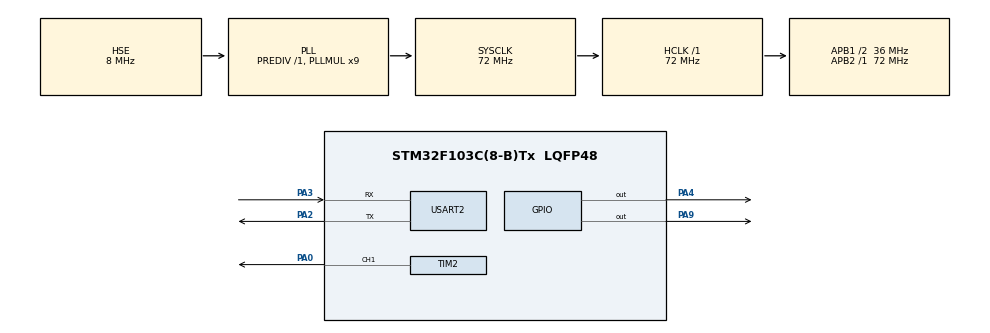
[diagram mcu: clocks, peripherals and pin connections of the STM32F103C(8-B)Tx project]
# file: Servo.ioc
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Dma.Request0=USART2_RX
Dma.Request1=USART2_TX
Dma.USART2_RX.0.Direction=DMA_PERIPH_TO_MEMORY
Dma.USART2_RX.0.Instance=DMA1_Channel6
Dma.USART2_RX.0.MemDataAlignment=DMA_MDATAALIGN_BYTE
Dma.USART2_RX.0.MemInc=DMA_MINC_ENABLE
Dma.USART2_RX.0.Mode=DMA_NORMAL
Dma.USART2_RX.0.PeriphDataAlignment=DMA_PDATAALIGN_BYTE
Dma.USART2_RX.0.PeriphInc=DMA_PINC_DISABLE
Dma.USART2_RX.0.Priority=DMA_PRIORITY_LOW
Dma.USART2_TX.1.Direction=DMA_MEMORY_TO_PERIPH
Dma.USART2_TX.1.Instance=DMA1_Channel7
Dma.USART2_TX.1.MemDataAlignment=DMA_MDATAALIGN_BYTE
Dma.USART2_TX.1.MemInc=DMA_MINC_ENABLE
Dma.USART2_TX.1.Mode=DMA_NORMAL
Dma.USART2_TX.1.PeriphDataAlignment=DMA_PDATAALIGN_BYTE
Dma.USART2_TX.1.PeriphInc=DMA_PINC_DISABLE
Dma.USART2_TX.1.Priority=DMA_PRIORITY_LOW
Mcu.Family=STM32F1
Mcu.Name=STM32F103C(8-B)Tx
Mcu.Package=LQFP48
NVIC.DMA1_Channel6_IRQn=true\:1\:0\:true\:false\:true\:false\:true
NVIC.DMA1_Channel7_IRQn=true\:2\:0\:true\:false\:true\:false\:true
NVIC.PriorityGroup=NVIC_PRIORITYGROUP_4
NVIC.TIM3_IRQn=true\:3\:0\:true\:false\:true\:true\:true
NVIC.USART2_IRQn=true\:0\:0\:false\:false\:true\:true\:true
PA0-WKUP.Signal=S_TIM2_CH1_ETR
PA13.Mode=Serial_Wire
PA13.Signal=SYS_JTMS-SWDIO
PA14.Mode=Serial_Wire
PA14.Signal=SYS_JTCK-SWCLK
PA2.Mode=Asynchronous
PA2.Signal=USART2_TX
PA3.Mode=Asynchronous
PA3.Signal=USART2_RX
PA4.Signal=GPIO_Output
PA9.GPIO_Speed=GPIO_SPEED_FREQ_LOW
PA9.Signal=GPIO_Output
PD0-OSC_IN.Mode=HSE-External-Oscillator
PD0-OSC_IN.Signal=RCC_OSC_IN
PD1-OSC_OUT.Mode=HSE-External-Oscillator
PD1-OSC_OUT.Signal=RCC_OSC_OUT
ProjectManager.HeapSize=0x200
ProjectManager.StackSize=0x400
ProjectManager.TargetToolchain=MDK-ARM V5
RCC.AHBFreq_Value=72000000
RCC.APB1CLKDivider=RCC_HCLK_DIV2
RCC.APB1Freq_Value=36000000
RCC.APB1TimFreq_Value=72000000
RCC.APB2Freq_Value=72000000
RCC.APB2TimFreq_Value=72000000
RCC.HCLKFreq_Value=72000000
RCC.PLLMUL=RCC_PLL_MUL9
RCC.PLLSourceVirtual=RCC_PLLSOURCE_HSE
RCC.SYSCLKFreq_VALUE=72000000
RCC.SYSCLKSource=RCC_SYSCLKSOURCE_PLLCLK
RCC.USBFreq_Value=72000000
SH.S_TIM2_CH1_ETR.0=TIM2_CH1,PWM Generation1 CH1
TIM2.Channel-PWM\ Generation1\ CH1=TIM_CHANNEL_1
TIM2.Period=2000-1
TIM2.Prescaler=720-1
TIM3.Period=5000-1
TIM3.Prescaler=7200-1
USART2.VirtualMode=VM_ASYNC
VP_TIM2_VS_ClockSourceINT.Mode=Internal
VP_TIM3_VS_ClockSourceINT.Mode=Internal
board=custom

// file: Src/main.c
/* USER CODE BEGIN Header */
/**
  ******************************************************************************
  * @file           : main.c
  * @brief          : Main program body
  ******************************************************************************
  * @attention
  *
  * <h2><center>&copy; Copyright (c) 2020 STMicroelectronics.
  * All rights reserved.</center></h2>
  *
  * This software component is licensed by ST under BSD 3-Clause license,
  * the "License"; You may not use this file except in compliance with the
  * License. You may obtain a copy of the License at:
  *                        opensource.org/licenses/BSD-3-Clause
  *
  ******************************************************************************
  */
/* USER CODE END Header */

#include "main.h"

/* USER CODE BEGIN Includes */
#include "DHT11.h"
#include "stdio.h"
#include "string.h"
#include "stdlib.h"
/* USER CODE END Includes */

/* USER CODE BEGIN PD */
#define sizeofRx 3
#define sizeTx 20
/* USER CODE END PD */

TIM_HandleTypeDef htim2;
TIM_HandleTypeDef htim3;

UART_HandleTypeDef huart2;
DMA_HandleTypeDef hdma_usart2_rx;
DMA_HandleTypeDef hdma_usart2_tx;

void SystemClock_Config(void);
static void MX_GPIO_Init(void);
static void MX_DMA_Init(void);
static void MX_TIM2_Init(void);
static void MX_TIM3_Init(void);
static void MX_USART2_UART_Init(void);
/* USER CODE BEGIN PFP */
void servo_write(int);
void servo_sweep(void);
int map(int, int, int, int, int);
int i, len;
int delayTime = 10;
uint8_t flagRx = 0;
uint16_t lenght =0;

/* USER CODE END PFP */

/* USER CODE BEGIN 0 */
uint8_t rxData[sizeofRx] ={0};
uint8_t SendBuffer[7];
char data[30];
DHT11_DATA_TypeDef DHT11_DATA;
void HAL_UART_RxCpltCallback(UART_HandleTypeDef *huart)
{
	if ( huart->Instance == huart2.Instance)
	{
		HAL_UART_Receive_DMA(&huart2,(uint8_t*)rxData,sizeofRx);
		flagRx = 1;
	}
}

uint8_t Cong,CuaNha,DenKhach,CuaKhach,DenBep,CuaBep,DenNgu1,CuaNgu1;
uint8_t GianPhoi,QuatAn,DenNgu2,CuaNgu2,DenNgu3,CuaNgu3,DenVs1,DenVs2,DenTam;
void ReadData (void)
{
	Cong = rxData[0] & (1<<7);
	CuaNha = rxData[0] & (1<<6);
	DenKhach = rxData[0] & (1<<5);
	CuaKhach = rxData[0] & (1<<4);
	DenBep = rxData[0] & (1<<3);
	CuaBep = rxData[0] & (1<<2);
	DenNgu1 = rxData[0] & (1<<1);
	CuaNgu1 = rxData[0] & (1<<0);

	DenVs2 = rxData[1] & (1<<7);
	DenVs1 = rxData[1] & (1<<6);
	CuaNgu3 = rxData[1] & (1<<5);
	DenNgu3 = rxData[1] & (1<<4);
	CuaNgu2 = rxData[1] & (1<<3);
	DenNgu2 = rxData[1] & (1<<2);
	QuatAn = rxData[1] & (1<<1);
	GianPhoi = rxData[1] & (1<<0);

	DenTam = rxData[2] & (1<<0);
}

void Control(void)
{
	if (Cong){
		// Chuong trЛnh thuc hien open gate
		SendBuffer[0] = SendBuffer[0] | (1<<7);
	} else {
		// Chuong trinh thuc hien close gate
		SendBuffer[0] = SendBuffer[0] & ~(1<<7);
	}
	if (CuaNha){
		// Chuong trinh thuc hien mo cua nha
		SendBuffer[0] = SendBuffer[0] | (1<<6);
	} else {
		// Chuong trinh thuc hien dong cua nha
		SendBuffer[0] = SendBuffer[0] & ~(1<<6);
	}
	if (DenKhach){
		// Chuong trinh thuc hien bat den phong khach
		SendBuffer[0] = SendBuffer[0] | (1<<5);
	} else {
		// Chuong trinh thuc hien tat den phong khach
		SendBuffer[0] = SendBuffer[0] & ~(1<<5);
	}
	if (CuaKhach){
		// Chuong trinh thuc hien mo cua so phong khach
		SendBuffer[0] = SendBuffer[0] | (1<<4);
		servo_write(180);
	} else {
		// Chuong trinh thuc hien dong cua so phong khach
		SendBuffer[0] = SendBuffer[0] & ~(1<<4);
		servo_write(0);
	}
	if (DenBep){
		// Chuong trinh thuc hien bat den bep
		SendBuffer[0] = SendBuffer[0] | (1<<3);
	} else {
		// Chuong trinh thuc hien tat den bep
		SendBuffer[0] = SendBuffer[0] & ~(1<<3);
	}
	if (CuaBep){
		// Chuong trinh thuc hien mo cua bep
		SendBuffer[0] = SendBuffer[0] | (1<<2);
	} else {
		// Chuong trinh thuc hien dong cua bep
		SendBuffer[0] = SendBuffer[0] & ~(1<<2);
	}
	if (DenNgu1){
		// Chuong trinh thuc hien bat den ngu 1
		SendBuffer[0] = SendBuffer[0] | (1<<1);
	} else {
		// Chuong trinh thuc hien tat den ngu 1
		SendBuffer[0] = SendBuffer[0] & ~(1<<1);
	}
	if (CuaNgu1){
		// Chuong trinh thuc hien mo cua phong ngu 1
		SendBuffer[0] = SendBuffer[0] | (1<<0);
	} else {
		// Chuong trinh thuc hien dong cua phong ngu 1
		SendBuffer[0] = SendBuffer[0] & ~(1<<0);
	}
	if(DenVs2){
		// Chuong trinh thuc hien mo den ve sinh 2
		SendBuffer[1] = SendBuffer[1] | (1<<7);
	} else{
		// Chuong trinh tat den ve sinh 2
		SendBuffer[1] = SendBuffer[1] & ~(1<<7);
	}
	if(DenVs1){
		// Chuong trinh thuc hien mo den ve sinh 1
		SendBuffer[1] = SendBuffer[1] | (1<<6);
	} else{
		// Chuong trinh tat den ve sinh 1
		SendBuffer[1] = SendBuffer[1] & ~(1<<6);
	}
	if (DenNgu3){
		// Chuong trinh thuc hien bat den ngu 3
		SendBuffer[1] = SendBuffer[1] | (1<<4);
	} else {
		// Chuong trinh thuc hien tat den ngu 3
		SendBuffer[1] = SendBuffer[1] & ~(1<<4);
	}
	if (CuaNgu3){
		// Chuong trinh thuc hien mo cua phong ngu 3
		SendBuffer[1] = SendBuffer[1] | (1<<5);
	} else {
		// Chuong trinh thuc hien dong cua phong ngu 3
		SendBuffer[1] = SendBuffer[1] & ~(1<<5);
	}
	if (DenNgu2){
		// Chuong trinh thuc hien bat den ngu 2
		SendBuffer[1] = SendBuffer[1] | (1<<2);
	} else {
		// Chuong trinh thuc hien tat den ngu 2
		SendBuffer[1] = SendBuffer[1] & ~(1<<2);
	}
	if (CuaNgu2){
		// Chuong trinh thuc hien mo cua phong ngu 2
		SendBuffer[1] = SendBuffer[1] | (1<<3);
	} else {
		// Chuong trinh thuc hien dong cua phong ngu 2
		SendBuffer[1] = SendBuffer[1] & ~(1<<3);
	}
	if (QuatAn){
		// CHuong trinh thuc hien bat quat phong an
		SendBuffer[1] = SendBuffer[1] | (1<<1);
	} else{
		SendBuffer[1] = SendBuffer[1] & ~(1<<1);
	}
	if (GianPhoi){
		// chuong trinh thuc hien gian phoi
		SendBuffer[1] = SendBuffer[1] | (1<<0);
	} else {
		SendBuffer[1] = SendBuffer[1] & ~(1<<0);
	}
	 if (DenTam){
		 // Chuong trinh thuc hien den phong tam
		 SendBuffer[2] = SendBuffer[2] | (1<<0);
	 } else {
		 SendBuffer[2] = SendBuffer[2] & ~(1<<0);
	 }
}
void HAL_TIM_PeriodElapsedCallback(TIM_HandleTypeDef *htim)
{
	if (htim->Instance == htim3.Instance)
	{
		if (Read_TempAndHumidity (&DHT11_DATA) == SUCCESS)
		{
		  SendBuffer[3] = DHT11_DATA.temp_int;
			SendBuffer[4] = DHT11_DATA.temp_deci;
			SendBuffer[5] = DHT11_DATA.humi_int;
			SendBuffer[6] = DHT11_DATA.humi_deci;

			len = sprintf((char*)data,"A,%i,%i,%i,%i,%i,%i,%i,",SendBuffer[0],SendBuffer[1],SendBuffer[2],SendBuffer[3],SendBuffer[4],SendBuffer[5],SendBuffer[6]);
			//sprintf((char*)data,"A,%i,%i,%i,%i,%i,%i,%i,",128,128,1,SendBuffer[3],SendBuffer[4],SendBuffer[5],SendBuffer[6]);
			HAL_UART_Transmit_DMA(&huart2,(uint8_t*)data,len);

		}

	}
}
/* USER CODE END 0 */

int main(void)
{

  /* MCU Configuration--------------------------------------------------------*/

  /* Reset of all peripherals, Initializes the Flash interface and the Systick. */
  HAL_Init();
	DHT11_Init();

  /* Configure the system clock */
  SystemClock_Config();

  /* Initialize all configured peripherals */
  MX_GPIO_Init();
  MX_DMA_Init();
  MX_TIM2_Init();
  MX_TIM3_Init();
  MX_USART2_UART_Init();
  /* USER CODE BEGIN 2 */
	HAL_TIM_PWM_Start(&htim2,TIM_CHANNEL_1);
	HAL_TIM_Base_Start_IT(&htim3);
	HAL_UART_Receive_DMA(&huart2,(uint8_t*)rxData,sizeofRx);
  /* USER CODE END 2 */

  /* Infinite loop */
  /* USER CODE BEGIN WHILE */
  while (1)
  {
		if ( flagRx ){
			ReadData();
			Control();
			flagRx =0;
		}
    /* USER CODE END WHILE */

  }
}

void SystemClock_Config(void)
{
  RCC_OscInitTypeDef RCC_OscInitStruct = {0};
  RCC_ClkInitTypeDef RCC_ClkInitStruct = {0};

  /** Initializes the CPU, AHB and APB busses clocks
  */
  RCC_OscInitStruct.OscillatorType = RCC_OSCILLATORTYPE_HSE;
  RCC_OscInitStruct.HSEState = RCC_HSE_ON;
  RCC_OscInitStruct.HSEPredivValue = RCC_HSE_PREDIV_DIV1;
  RCC_OscInitStruct.HSIState = RCC_HSI_ON;
  RCC_OscInitStruct.PLL.PLLState = RCC_PLL_ON;
  RCC_OscInitStruct.PLL.PLLSource = RCC_PLLSOURCE_HSE;
  RCC_OscInitStruct.PLL.PLLMUL = RCC_PLL_MUL9;
  if (HAL_RCC_OscConfig(&RCC_OscInitStruct) != HAL_OK)
  {
    Error_Handler();
  }
  /** Initializes the CPU, AHB and APB busses clocks
  */
  RCC_ClkInitStruct.ClockType = RCC_CLOCKTYPE_HCLK|RCC_CLOCKTYPE_SYSCLK
                              |RCC_CLOCKTYPE_PCLK1|RCC_CLOCKTYPE_PCLK2;
  RCC_ClkInitStruct.SYSCLKSource = RCC_SYSCLKSOURCE_PLLCLK;
  RCC_ClkInitStruct.AHBCLKDivider = RCC_SYSCLK_DIV1;
  RCC_ClkInitStruct.APB1CLKDivider = RCC_HCLK_DIV2;
  RCC_ClkInitStruct.APB2CLKDivider = RCC_HCLK_DIV1;

  if (HAL_RCC_ClockConfig(&RCC_ClkInitStruct, FLASH_LATENCY_2) != HAL_OK)
  {
    Error_Handler();
  }
}

static void MX_TIM2_Init(void)
{

  TIM_ClockConfigTypeDef sClockSourceConfig = {0};
  TIM_MasterConfigTypeDef sMasterConfig = {0};
  TIM_OC_InitTypeDef sConfigOC = {0};

  htim2.Instance = TIM2;
  htim2.Init.Prescaler = 720-1;
  htim2.Init.CounterMode = TIM_COUNTERMODE_UP;
  htim2.Init.Period = 2000-1;
  htim2.Init.ClockDivision = TIM_CLOCKDIVISION_DIV1;
  htim2.Init.AutoReloadPreload = TIM_AUTORELOAD_PRELOAD_DISABLE;
  if (HAL_TIM_Base_Init(&htim2) != HAL_OK)
  {
    Error_Handler();
  }
  sClockSourceConfig.ClockSource = TIM_CLOCKSOURCE_INTERNAL;
  if (HAL_TIM_ConfigClockSource(&htim2, &sClockSourceConfig) != HAL_OK)
  {
    Error_Handler();
  }
  if (HAL_TIM_PWM_Init(&htim2) != HAL_OK)
  {
    Error_Handler();
  }
  sMasterConfig.MasterOutputTrigger = TIM_TRGO_RESET;
  sMasterConfig.MasterSlaveMode = TIM_MASTERSLAVEMODE_DISABLE;
  if (HAL_TIMEx_MasterConfigSynchronization(&htim2, &sMasterConfig) != HAL_OK)
  {
    Error_Handler();
  }
  sConfigOC.OCMode = TIM_OCMODE_PWM1;
  sConfigOC.Pulse = 0;
  sConfigOC.OCPolarity = TIM_OCPOLARITY_HIGH;
  sConfigOC.OCFastMode = TIM_OCFAST_DISABLE;
  if (HAL_TIM_PWM_ConfigChannel(&htim2, &sConfigOC, TIM_CHANNEL_1) != HAL_OK)
  {
    Error_Handler();
  }
  HAL_TIM_MspPostInit(&htim2);

}

static void MX_TIM3_Init(void)
{

  TIM_ClockConfigTypeDef sClockSourceConfig = {0};
  TIM_MasterConfigTypeDef sMasterConfig = {0};

  htim3.Instance = TIM3;
  htim3.Init.Prescaler = 7200-1;
  htim3.Init.CounterMode = TIM_COUNTERMODE_UP;
  htim3.Init.Period = 5000-1;
  htim3.Init.ClockDivision = TIM_CLOCKDIVISION_DIV1;
  htim3.Init.AutoReloadPreload = TIM_AUTORELOAD_PRELOAD_DISABLE;
  if (HAL_TIM_Base_Init(&htim3) != HAL_OK)
  {
    Error_Handler();
  }
  sClockSourceConfig.ClockSource = TIM_CLOCKSOURCE_INTERNAL;
  if (HAL_TIM_ConfigClockSource(&htim3, &sClockSourceConfig) != HAL_OK)
  {
    Error_Handler();
  }
  sMasterConfig.MasterOutputTrigger = TIM_TRGO_RESET;
  sMasterConfig.MasterSlaveMode = TIM_MASTERSLAVEMODE_DISABLE;
  if (HAL_TIMEx_MasterConfigSynchronization(&htim3, &sMasterConfig) != HAL_OK)
  {
    Error_Handler();
  }

}

static void MX_USART2_UART_Init(void)
{

  huart2.Instance = USART2;
  huart2.Init.BaudRate = 115200;
  huart2.Init.WordLength = UART_WORDLENGTH_8B;
  huart2.Init.StopBits = UART_STOPBITS_1;
  huart2.Init.Parity = UART_PARITY_NONE;
  huart2.Init.Mode = UART_MODE_TX_RX;
  huart2.Init.HwFlowCtl = UART_HWCONTROL_NONE;
  huart2.Init.OverSampling = UART_OVERSAMPLING_16;
  if (HAL_UART_Init(&huart2) != HAL_OK)
  {
    Error_Handler();
  }

}

static void MX_DMA_Init(void)
{

  /* DMA controller clock enable */
  __HAL_RCC_DMA1_CLK_ENABLE();

  /* DMA interrupt init */
  /* DMA1_Channel6_IRQn interrupt configuration */
  HAL_NVIC_SetPriority(DMA1_Channel6_IRQn, 1, 0);
  HAL_NVIC_EnableIRQ(DMA1_Channel6_IRQn);
  /* DMA1_Channel7_IRQn interrupt configuration */
  HAL_NVIC_SetPriority(DMA1_Channel7_IRQn, 2, 0);
  HAL_NVIC_EnableIRQ(DMA1_Channel7_IRQn);

}

static void MX_GPIO_Init(void)
{
  GPIO_InitTypeDef GPIO_InitStruct = {0};

  /* GPIO Ports Clock Enable */
  __HAL_RCC_GPIOD_CLK_ENABLE();
  __HAL_RCC_GPIOA_CLK_ENABLE();

  /*Configure GPIO pin Output Level */
  HAL_GPIO_WritePin(GPIOA, GPIO_PIN_4|GPIO_PIN_9, GPIO_PIN_RESET);

  /*Configure GPIO pins : PA4 PA9 */
  GPIO_InitStruct.Pin = GPIO_PIN_4|GPIO_PIN_9;
  GPIO_InitStruct.Mode = GPIO_MODE_OUTPUT_PP;
  GPIO_InitStruct.Pull = GPIO_NOPULL;
  GPIO_InitStruct.Speed = GPIO_SPEED_FREQ_LOW;
  HAL_GPIO_Init(GPIOA, &GPIO_InitStruct);

}

/* USER CODE BEGIN 4 */

void servo_write(int angle)
{
	htim2.Instance->CCR1 = map(0,180,50,250,angle);
}

void servo_sweep(void)
{
		for(int i = 0; i <= 180; i++)
		{
			servo_write(i);
			HAL_Delay(10);
		}
		for(int i = 180; i >= 0; i--)
		{
			servo_write(i);
			HAL_Delay(10);
		}
}
int map(int st1, int fn1, int st2, int fn2, int value)
{
    return (1.0*(value-st1))/((fn1-st1)*1.0) * (fn2-st2)+st2;
}
/* USER CODE END 4 */

void Error_Handler(void)
{
}

/************************ (C) COPYRIGHT STMicroelectronics *****END OF FILE****/
